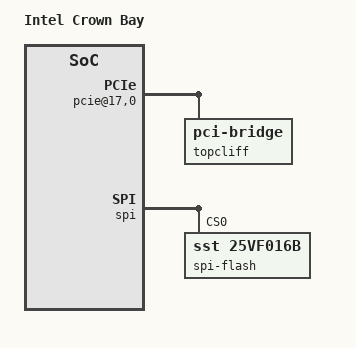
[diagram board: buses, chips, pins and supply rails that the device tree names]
// SPDX-License-Identifier: GPL-2.0+
/*
 * Copyright (C) 2014, Bin Meng <bmeng.cn@gmail.com>
 */

/dts-v1/;

#include <dt-bindings/interrupt-router/intel-irq.h>

/include/ "skeleton.dtsi"
/include/ "serial.dtsi"
/include/ "keyboard.dtsi"
/include/ "pcspkr.dtsi"
/include/ "reset.dtsi"
/include/ "rtc.dtsi"
/include/ "tsc_timer.dtsi"

/ {
	model = "Intel Crown Bay";
	compatible = "intel,crownbay", "intel,queensbay";

	aliases {
		spi0 = &spi;
	};

	config {
		silent_console = <0>;
	};

	cpus {
		#address-cells = <1>;
		#size-cells = <0>;

		cpu@0 {
			device_type = "cpu";
			compatible = "cpu-x86";
			reg = <0>;
			intel,apic-id = <0>;
		};

		cpu@1 {
			device_type = "cpu";
			compatible = "cpu-x86";
			reg = <1>;
			intel,apic-id = <1>;
		};

	};

	chosen {
		/*
		 * By default the legacy superio serial port is used as the
		 * U-Boot serial console. If we want to use UART from Topcliff
		 * PCH as the console, change this property to &pciuart#.
		 *
		 * For example, stdout-path = &pciuart0 will use the first
		 * UART on Topcliff PCH.
		 */
		stdout-path = "/serial";
	};

	microcode {
		update@0 {
#include "microcode/m0220661105_cv.dtsi"
		};
	};

	pci {
		#address-cells = <3>;
		#size-cells = <2>;
		compatible = "pci-x86";
		u-boot,dm-pre-reloc;
		ranges = <0x02000000 0x0 0x40000000 0x40000000 0 0x80000000
			  0x42000000 0x0 0xc0000000 0xc0000000 0 0x20000000
			  0x01000000 0x0 0x2000 0x2000 0 0xe000>;

		pcie@17,0 {
			#address-cells = <3>;
			#size-cells = <2>;
			compatible = "pci-bridge";
			u-boot,dm-pre-reloc;
			reg = <0x0000b800 0x0 0x0 0x0 0x0>;

			topcliff@0,0 {
				#address-cells = <3>;
				#size-cells = <2>;
				compatible = "pci-bridge";
				u-boot,dm-pre-reloc;
				reg = <0x00010000 0x0 0x0 0x0 0x0>;

				pciuart0: uart@a,1 {
					compatible = "pci8086,8811.00",
							"pci8086,8811",
							"pciclass,070002",
							"pciclass,0700",
							"ns16550";
					u-boot,dm-pre-reloc;
					reg = <0x00025100 0x0 0x0 0x0 0x0
					       0x01025110 0x0 0x0 0x0 0x0>;
					reg-shift = <0>;
					clock-frequency = <1843200>;
					current-speed = <115200>;
				};

				pciuart1: uart@a,2 {
					compatible = "pci8086,8812.00",
							"pci8086,8812",
							"pciclass,070002",
							"pciclass,0700",
							"ns16550";
					u-boot,dm-pre-reloc;
					reg = <0x00025200 0x0 0x0 0x0 0x0
					       0x01025210 0x0 0x0 0x0 0x0>;
					reg-shift = <0>;
					clock-frequency = <1843200>;
					current-speed = <115200>;
				};

				pciuart2: uart@a,3 {
					compatible = "pci8086,8813.00",
							"pci8086,8813",
							"pciclass,070002",
							"pciclass,0700",
							"ns16550";
					u-boot,dm-pre-reloc;
					reg = <0x00025300 0x0 0x0 0x0 0x0
					       0x01025310 0x0 0x0 0x0 0x0>;
					reg-shift = <0>;
					clock-frequency = <1843200>;
					current-speed = <115200>;
				};

				pciuart3: uart@a,4 {
					compatible = "pci8086,8814.00",
							"pci8086,8814",
							"pciclass,070002",
							"pciclass,0700",
							"ns16550";
					u-boot,dm-pre-reloc;
					reg = <0x00025400 0x0 0x0 0x0 0x0
					       0x01025410 0x0 0x0 0x0 0x0>;
					reg-shift = <0>;
					clock-frequency = <1843200>;
					current-speed = <115200>;
				};
			};
		};

		pch@1f,0 {
			reg = <0x0000f800 0 0 0 0>;
			compatible = "intel,pch7";
			#address-cells = <1>;
			#size-cells = <1>;

			irq-router {
				compatible = "intel,irq-router";
				intel,pirq-config = "pci";
				intel,actl-addr = <0x58>;
				intel,pirq-link = <0x60 8>;
				intel,pirq-mask = <0xcee0>;
				intel,pirq-routing = <
					/* TunnelCreek PCI devices */
					PCI_BDF(0, 2, 0) INTA PIRQE
					PCI_BDF(0, 3, 0) INTA PIRQF
					PCI_BDF(0, 23, 0) INTA PIRQA
					PCI_BDF(0, 23, 0) INTB PIRQB
					PCI_BDF(0, 23, 0) INTC PIRQC
					PCI_BDF(0, 23, 0) INTD PIRQD
					PCI_BDF(0, 24, 0) INTA PIRQB
					PCI_BDF(0, 24, 0) INTB PIRQC
					PCI_BDF(0, 24, 0) INTC PIRQD
					PCI_BDF(0, 24, 0) INTD PIRQA
					PCI_BDF(0, 25, 0) INTA PIRQC
					PCI_BDF(0, 25, 0) INTB PIRQD
					PCI_BDF(0, 25, 0) INTC PIRQA
					PCI_BDF(0, 25, 0) INTD PIRQB
					PCI_BDF(0, 26, 0) INTA PIRQD
					PCI_BDF(0, 26, 0) INTB PIRQA
					PCI_BDF(0, 26, 0) INTC PIRQB
					PCI_BDF(0, 26, 0) INTD PIRQC
					PCI_BDF(0, 27, 0) INTA PIRQG
					/*
					* Topcliff PCI devices
					*
					* Note on the Crown Bay board, Topcliff
					* chipset is connected to TunnelCreek
					* PCIe port 0, so its bus number is 1
					* for its PCIe port and 2 for its PCI
					* devices per U-Boot current PCI bus
					* enumeration algorithm.
					*/
					PCI_BDF(1, 0, 0) INTA PIRQA
					PCI_BDF(2, 0, 1) INTA PIRQA
					PCI_BDF(2, 0, 2) INTA PIRQA
					PCI_BDF(2, 2, 0) INTB PIRQD
					PCI_BDF(2, 2, 1) INTB PIRQD
					PCI_BDF(2, 2, 2) INTB PIRQD
					PCI_BDF(2, 2, 3) INTB PIRQD
					PCI_BDF(2, 2, 4) INTB PIRQD
					PCI_BDF(2, 4, 0) INTC PIRQC
					PCI_BDF(2, 4, 1) INTC PIRQC
					PCI_BDF(2, 6, 0) INTD PIRQB
					PCI_BDF(2, 8, 0) INTA PIRQA
					PCI_BDF(2, 8, 1) INTA PIRQA
					PCI_BDF(2, 8, 2) INTA PIRQA
					PCI_BDF(2, 8, 3) INTA PIRQA
					PCI_BDF(2, 10, 0) INTB PIRQD
					PCI_BDF(2, 10, 1) INTB PIRQD
					PCI_BDF(2, 10, 2) INTB PIRQD
					PCI_BDF(2, 10, 3) INTB PIRQD
					PCI_BDF(2, 10, 4) INTB PIRQD
					PCI_BDF(2, 12, 0) INTC PIRQC
					PCI_BDF(2, 12, 1) INTC PIRQC
					PCI_BDF(2, 12, 2) INTC PIRQC
					PCI_BDF(2, 12, 3) INTC PIRQC
					PCI_BDF(2, 12, 4) INTC PIRQC
				>;
			};

			spi: spi {
				#address-cells = <1>;
				#size-cells = <0>;
				compatible = "intel,ich7-spi";
				spi-flash@0 {
					reg = <0>;
					compatible = "sst,25vf016b",
						"jedec,spi-nor";
					memory-map = <0xffe00000 0x00200000>;
				};
			};

			gpioa {
				compatible = "intel,ich6-gpio";
				u-boot,dm-pre-reloc;
				reg = <0 0x20>;
				bank-name = "A";
			};

			gpiob {
				compatible = "intel,ich6-gpio";
				u-boot,dm-pre-reloc;
				reg = <0x20 0x20>;
				bank-name = "B";
			};
		};
	};

};
